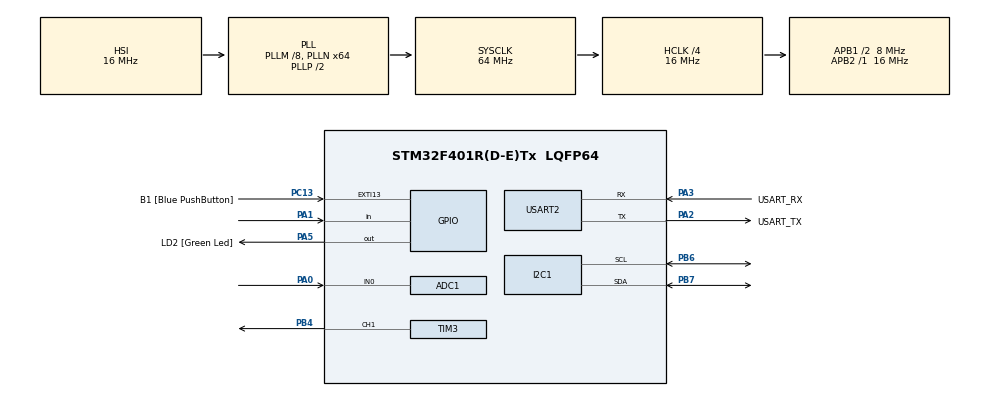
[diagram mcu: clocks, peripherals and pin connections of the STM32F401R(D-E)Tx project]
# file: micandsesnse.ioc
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ADC1.Channel-0\#ChannelRegularConversion=ADC_CHANNEL_0
ADC1.NbrOfConversionFlag=1
ADC1.Rank-0\#ChannelRegularConversion=1
ADC1.Resolution=ADC_RESOLUTION_10B
ADC1.SamplingTime-0\#ChannelRegularConversion=ADC_SAMPLETIME_3CYCLES
ADC1.master=1
I2C1.I2C_Mode=I2C_Fast
Mcu.Family=STM32F4
Mcu.Name=STM32F401R(D-E)Tx
Mcu.Package=LQFP64
NVIC.ADC_IRQn=true\:0\:0\:false\:false\:true\:true\:true\:true
NVIC.PriorityGroup=NVIC_PRIORITYGROUP_0
NVIC.TIM2_IRQn=true\:0\:0\:false\:false\:true\:true\:true\:true
NVIC.TIM4_IRQn=true\:0\:0\:false\:false\:true\:true\:true\:true
PA0-WKUP.Signal=ADCx_IN0
PA1.Signal=GPIO_Input
PA13.GPIO_Label=TMS
PA13.Mode=Serial_Wire
PA13.Signal=SYS_JTMS-SWDIO
PA14.GPIO_Label=TCK
PA14.Mode=Serial_Wire
PA14.Signal=SYS_JTCK-SWCLK
PA2.GPIO_Label=USART_TX
PA2.GPIO_Mode=GPIO_MODE_AF_PP
PA2.GPIO_PuPd=GPIO_NOPULL
PA2.GPIO_Speed=GPIO_SPEED_FREQ_LOW
PA2.Mode=Asynchronous
PA2.Signal=USART2_TX
PA3.GPIO_Label=USART_RX
PA3.GPIO_Mode=GPIO_MODE_AF_PP
PA3.GPIO_PuPd=GPIO_NOPULL
PA3.GPIO_Speed=GPIO_SPEED_FREQ_LOW
PA3.Mode=Asynchronous
PA3.Signal=USART2_RX
PA5.GPIO_Label=LD2 [Green Led]
PA5.GPIO_Mode=GPIO_MODE_OUTPUT_PP
PA5.GPIO_PuPd=GPIO_NOPULL
PA5.GPIO_Speed=GPIO_SPEED_FREQ_LOW
PA5.Signal=GPIO_Output
PB3.GPIO_Label=SWO
PB3.Signal=SYS_JTDO-SWO
PB4.Signal=S_TIM3_CH1
PB6.GPIO_Pu=GPIO_NOPULL
PB6.Mode=I2C
PB6.Signal=I2C1_SCL
PB7.GPIO_Pu=GPIO_NOPULL
PB7.Mode=I2C
PB7.Signal=I2C1_SDA
PC13-ANTI_TAMP.GPIO_Label=B1 [Blue PushButton]
PC13-ANTI_TAMP.GPIO_ModeDefaultEXTI=GPIO_MODE_IT_FALLING
PC13-ANTI_TAMP.GPIO_PuPd=GPIO_NOPULL
PC13-ANTI_TAMP.Signal=GPXTI13
PC14-OSC32_IN.Mode=LSE-External-Oscillator
PC14-OSC32_IN.Signal=RCC_OSC32_IN
PC15-OSC32_OUT.Mode=LSE-External-Oscillator
PC15-OSC32_OUT.Signal=RCC_OSC32_OUT
PH0\ -\ OSC_IN.Mode=HSE-External-Clock-Source
PH0\ -\ OSC_IN.Signal=RCC_OSC_IN
PH1\ -\ OSC_OUT.Mode=HSE-External-Clock-Source
PH1\ -\ OSC_OUT.Signal=RCC_OSC_OUT
ProjectManager.HeapSize=0x200
ProjectManager.StackSize=0x400
ProjectManager.TargetToolchain=STM32CubeIDE
RCC.48MHZClocksFreq_Value=18285714.285714287
RCC.AHBCLKDivider=RCC_SYSCLK_DIV4
RCC.AHBFreq_Value=16000000
RCC.APB1CLKDivider=RCC_HCLK_DIV2
RCC.APB1Freq_Value=8000000
RCC.APB1TimFreq_Value=16000000
RCC.APB2Freq_Value=16000000
RCC.APB2TimFreq_Value=16000000
RCC.CortexFreq_Value=16000000
RCC.HCLKFreq_Value=16000000
RCC.HSE_VALUE=8000000
RCC.HSI_VALUE=16000000
RCC.PLLM=8
RCC.PLLN=64
RCC.PLLQ=7
RCC.SYSCLKFreq_VALUE=64000000
RCC.SYSCLKSource=RCC_SYSCLKSOURCE_PLLCLK
RCC.VCOOutputFreq_Value=128000000
SH.ADCx_IN0.0=ADC1_IN0,IN0
SH.S_TIM3_CH1.0=TIM3_CH1,PWM Generation1 CH1
TIM2.Period=999
TIM2.TIM_MasterOutputTrigger=TIM_TRGO_UPDATE
TIM3.Channel-PWM\ Generation1\ CH1=TIM_CHANNEL_1
TIM3.Period=999
TIM3.Prescaler=318
TIM4.Period=999
TIM4.TIM_MasterOutputTrigger=TIM_TRGO_UPDATE
USART2.VirtualMode=VM_ASYNC
VP_TIM2_VS_ClockSourceINT.Mode=Internal
VP_TIM3_VS_ClockSourceINT.Mode=Internal
VP_TIM4_VS_ClockSourceINT.Mode=Internal
board=NUCLEO-F401RE

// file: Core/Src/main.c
/* USER CODE BEGIN Header */
/**
  ******************************************************************************
  * @file           : main.c
  * @brief          : Main program body
  ******************************************************************************
  * @attention
  *
  * Copyright (c) 2024 STMicroelectronics.
  * All rights reserved.
  *
  * This software is licensed under terms that can be found in the LICENSE file
  * in the root directory of this software component.
  * If no LICENSE file comes with this software, it is provided AS-IS.
  *
  ******************************************************************************
  */
/* USER CODE END Header */
#include "main.h"

/* USER CODE BEGIN Includes */
#include <stdio.h>
#include "string.h"
#include "NanoEdgeAI.h"
#include "knowledge.h"
#include "ssd1306.h"
#include "ssd1306_tests.h"
#include "ssd1306_fonts.h"
/* USER CODE END Includes */

/* USER CODE BEGIN PD */
#define INT_BUF_SIZE 100
#define AXIS_NUMBER 1
#define DATA_INPUT_USER 256
#define CONFIRMATIONS_NB (uint32_t)(7)
/* USER CODE END PD */

ADC_HandleTypeDef hadc1;

I2C_HandleTypeDef hi2c1;

TIM_HandleTypeDef htim2;
TIM_HandleTypeDef htim3;
TIM_HandleTypeDef htim4;

UART_HandleTypeDef huart2;

/* USER CODE BEGIN PV */
uint8_t sound_buffer[INT_BUF_SIZE];  // Buffer to hold the sound sensor states
volatile uint32_t buffer_index = 0;
float mic = 0.0;
float mic_buffer[AXIS_NUMBER * DATA_INPUT_USER] = {0};
float output_class_buffer[CLASS_NUMBER]; // Buffer of class probabilities
const char *id2class[CLASS_NUMBER + 1] = { // Buffer for mapping class id to class name
	"unknown",
	"N1",
	"N2",
	"Crying",
	"Siren",
};
/* USER CODE END PV */

void SystemClock_Config(void);
static void MX_GPIO_Init(void);
static void MX_USART2_UART_Init(void);
static void MX_TIM4_Init(void);
static void MX_TIM3_Init(void);
static void MX_ADC1_Init(void);
static void MX_TIM2_Init(void);
static void MX_I2C1_Init(void);
/* USER CODE BEGIN PFP */
void fill_sound_buffer(void);
void servoIntensity(void);
void fill_mic_buffer(void);
void Log(void);
void Inference(void);
/* USER CODE END PFP */

/* USER CODE BEGIN 0 */

void HAL_TIM_PeriodElapsedCallback(TIM_HandleTypeDef *htim) {
    if (htim->Instance == TIM4) {
        fill_sound_buffer(); // Call to fill buffer on timer interrupt
    }
    else if(htim->Instance == TIM2){
    	HAL_ADC_Start_IT(&hadc1);
		HAL_TIM_Base_Start_IT(&htim2);
    }
}

void fill_sound_buffer() {
	 if (buffer_index < INT_BUF_SIZE) {
	        sound_buffer[buffer_index++] = (HAL_GPIO_ReadPin(GPIOA, GPIO_PIN_1) == GPIO_PIN_SET) ? 1 : 0; // Assign 1 for high and 0 for low
	    } else {
	        buffer_index = 0; // Reset index if buffer is full (optional: handle full buffer case)
	    }
}

void servoIntensity(){
	int high_count = 0; // Count of high values (1s) in the buffer

	// Count the number of high values (1s) in the sound buffer
	for (int i = 0; i < INT_BUF_SIZE; i++) {
		if (sound_buffer[i] == 1) {
			high_count++;
		}
	}

	// Calculate the percentage of high values
	float high_percentage = (float)high_count / INT_BUF_SIZE * 100;

	// Ensure that high_percentage is within the valid range (0 to 100)
	if (high_percentage < 0) {
		high_percentage = 0;
	} else if (high_percentage > 100) {
		high_percentage = 100;
	}

//	if (high_percentage < 20) {
//		printf("Sound Level= LOW\r\n");
//	} else if (high_percentage >= 20 && high_percentage < 65) {
//		printf("Sound Level = MEDIUM\r\n");
//	} else if (high_percentage >= 65){
//		printf("Sound Level = HIGH\r\n");
//	}

	// Normalize to a duty cycle value for servo control
	int dutyCycle = 125 - (int)((high_percentage * (125 - 25)) / 100); // Map percentage to duty cycle range
	htim3.Instance->CCR1 = dutyCycle; // Set the compare register to the duty cycle
	HAL_Delay(1000);
}

void HAL_ADC_ConvCpltCallback(ADC_HandleTypeDef* hadc){
	mic = HAL_ADC_GetValue(&hadc1);
}

/* USER CODE END 0 */

int main(void)
{

  /* MCU Configuration--------------------------------------------------------*/

  /* Reset of all peripherals, Initializes the Flash interface and the Systick. */
  HAL_Init();

  /* USER CODE BEGIN Init */
  enum neai_state error_code = neai_classification_init(knowledge);
  	if (error_code != NEAI_OK) {
  		/* This happens if the knowledge does not correspond to the library or if the library works into a not supported board. */
  		printf("Knowledge Initialization ERROR!");
	}
  	else{
  		printf("Knowledge Initialization DONE!");
	}
  /* USER CODE END Init */

  /* Configure the system clock */
  SystemClock_Config();

  /* Initialize all configured peripherals */
  MX_GPIO_Init();
  MX_USART2_UART_Init();
  MX_TIM4_Init();
  MX_TIM3_Init();
  MX_ADC1_Init();
  MX_TIM2_Init();
  MX_I2C1_Init();
  /* USER CODE BEGIN 2 */
  HAL_ADC_Start_IT(&hadc1);
  HAL_TIM_Base_Start_IT(&htim2);
  HAL_TIM_Base_Start_IT(&htim4);
  HAL_TIM_PWM_Start(&htim3, TIM_CHANNEL_1);

  ssd1306_Init();
  /* USER CODE END 2 */

  /* Infinite loop */
  /* USER CODE BEGIN WHILE */
  while (1)
  {
//	  Log();
	  Inference();
	  servoIntensity();
    /* USER CODE END WHILE */

  }
}

void SystemClock_Config(void)
{
  RCC_OscInitTypeDef RCC_OscInitStruct = {0};
  RCC_ClkInitTypeDef RCC_ClkInitStruct = {0};

  /** Configure the main internal regulator output voltage
  */
  __HAL_RCC_PWR_CLK_ENABLE();
  __HAL_PWR_VOLTAGESCALING_CONFIG(PWR_REGULATOR_VOLTAGE_SCALE2);

  /** Initializes the RCC Oscillators according to the specified parameters
  * in the RCC_OscInitTypeDef structure.
  */
  RCC_OscInitStruct.OscillatorType = RCC_OSCILLATORTYPE_HSI;
  RCC_OscInitStruct.HSIState = RCC_HSI_ON;
  RCC_OscInitStruct.HSICalibrationValue = RCC_HSICALIBRATION_DEFAULT;
  RCC_OscInitStruct.PLL.PLLState = RCC_PLL_ON;
  RCC_OscInitStruct.PLL.PLLSource = RCC_PLLSOURCE_HSI;
  RCC_OscInitStruct.PLL.PLLM = 8;
  RCC_OscInitStruct.PLL.PLLN = 64;
  RCC_OscInitStruct.PLL.PLLP = RCC_PLLP_DIV2;
  RCC_OscInitStruct.PLL.PLLQ = 7;
  if (HAL_RCC_OscConfig(&RCC_OscInitStruct) != HAL_OK)
  {
    Error_Handler();
  }

  /** Initializes the CPU, AHB and APB buses clocks
  */
  RCC_ClkInitStruct.ClockType = RCC_CLOCKTYPE_HCLK|RCC_CLOCKTYPE_SYSCLK
                              |RCC_CLOCKTYPE_PCLK1|RCC_CLOCKTYPE_PCLK2;
  RCC_ClkInitStruct.SYSCLKSource = RCC_SYSCLKSOURCE_PLLCLK;
  RCC_ClkInitStruct.AHBCLKDivider = RCC_SYSCLK_DIV4;
  RCC_ClkInitStruct.APB1CLKDivider = RCC_HCLK_DIV2;
  RCC_ClkInitStruct.APB2CLKDivider = RCC_HCLK_DIV1;

  if (HAL_RCC_ClockConfig(&RCC_ClkInitStruct, FLASH_LATENCY_0) != HAL_OK)
  {
    Error_Handler();
  }
}

static void MX_ADC1_Init(void)
{

  ADC_ChannelConfTypeDef sConfig = {0};

  /** Configure the global features of the ADC (Clock, Resolution, Data Alignment and number of conversion)
  */
  hadc1.Instance = ADC1;
  hadc1.Init.ClockPrescaler = ADC_CLOCK_SYNC_PCLK_DIV2;
  hadc1.Init.Resolution = ADC_RESOLUTION_10B;
  hadc1.Init.ScanConvMode = DISABLE;
  hadc1.Init.ContinuousConvMode = DISABLE;
  hadc1.Init.DiscontinuousConvMode = DISABLE;
  hadc1.Init.ExternalTrigConvEdge = ADC_EXTERNALTRIGCONVEDGE_NONE;
  hadc1.Init.ExternalTrigConv = ADC_SOFTWARE_START;
  hadc1.Init.DataAlign = ADC_DATAALIGN_RIGHT;
  hadc1.Init.NbrOfConversion = 1;
  hadc1.Init.DMAContinuousRequests = DISABLE;
  hadc1.Init.EOCSelection = ADC_EOC_SINGLE_CONV;
  if (HAL_ADC_Init(&hadc1) != HAL_OK)
  {
    Error_Handler();
  }

  /** Configure for the selected ADC regular channel its corresponding rank in the sequencer and its sample time.
  */
  sConfig.Channel = ADC_CHANNEL_0;
  sConfig.Rank = 1;
  sConfig.SamplingTime = ADC_SAMPLETIME_3CYCLES;
  if (HAL_ADC_ConfigChannel(&hadc1, &sConfig) != HAL_OK)
  {
    Error_Handler();
  }

}

static void MX_I2C1_Init(void)
{

  hi2c1.Instance = I2C1;
  hi2c1.Init.ClockSpeed = 400000;
  hi2c1.Init.DutyCycle = I2C_DUTYCYCLE_2;
  hi2c1.Init.OwnAddress1 = 0;
  hi2c1.Init.AddressingMode = I2C_ADDRESSINGMODE_7BIT;
  hi2c1.Init.DualAddressMode = I2C_DUALADDRESS_DISABLE;
  hi2c1.Init.OwnAddress2 = 0;
  hi2c1.Init.GeneralCallMode = I2C_GENERALCALL_DISABLE;
  hi2c1.Init.NoStretchMode = I2C_NOSTRETCH_DISABLE;
  if (HAL_I2C_Init(&hi2c1) != HAL_OK)
  {
    Error_Handler();
  }

}

static void MX_TIM2_Init(void)
{

  TIM_ClockConfigTypeDef sClockSourceConfig = {0};
  TIM_MasterConfigTypeDef sMasterConfig = {0};

  htim2.Instance = TIM2;
  htim2.Init.Prescaler = 0;
  htim2.Init.CounterMode = TIM_COUNTERMODE_UP;
  htim2.Init.Period = 999;
  htim2.Init.ClockDivision = TIM_CLOCKDIVISION_DIV1;
  htim2.Init.AutoReloadPreload = TIM_AUTORELOAD_PRELOAD_DISABLE;
  if (HAL_TIM_Base_Init(&htim2) != HAL_OK)
  {
    Error_Handler();
  }
  sClockSourceConfig.ClockSource = TIM_CLOCKSOURCE_INTERNAL;
  if (HAL_TIM_ConfigClockSource(&htim2, &sClockSourceConfig) != HAL_OK)
  {
    Error_Handler();
  }
  sMasterConfig.MasterOutputTrigger = TIM_TRGO_UPDATE;
  sMasterConfig.MasterSlaveMode = TIM_MASTERSLAVEMODE_DISABLE;
  if (HAL_TIMEx_MasterConfigSynchronization(&htim2, &sMasterConfig) != HAL_OK)
  {
    Error_Handler();
  }

}

static void MX_TIM3_Init(void)
{

  TIM_ClockConfigTypeDef sClockSourceConfig = {0};
  TIM_MasterConfigTypeDef sMasterConfig = {0};
  TIM_OC_InitTypeDef sConfigOC = {0};

  htim3.Instance = TIM3;
  htim3.Init.Prescaler = 318;
  htim3.Init.CounterMode = TIM_COUNTERMODE_UP;
  htim3.Init.Period = 999;
  htim3.Init.ClockDivision = TIM_CLOCKDIVISION_DIV1;
  htim3.Init.AutoReloadPreload = TIM_AUTORELOAD_PRELOAD_DISABLE;
  if (HAL_TIM_Base_Init(&htim3) != HAL_OK)
  {
    Error_Handler();
  }
  sClockSourceConfig.ClockSource = TIM_CLOCKSOURCE_INTERNAL;
  if (HAL_TIM_ConfigClockSource(&htim3, &sClockSourceConfig) != HAL_OK)
  {
    Error_Handler();
  }
  if (HAL_TIM_PWM_Init(&htim3) != HAL_OK)
  {
    Error_Handler();
  }
  sMasterConfig.MasterOutputTrigger = TIM_TRGO_RESET;
  sMasterConfig.MasterSlaveMode = TIM_MASTERSLAVEMODE_DISABLE;
  if (HAL_TIMEx_MasterConfigSynchronization(&htim3, &sMasterConfig) != HAL_OK)
  {
    Error_Handler();
  }
  sConfigOC.OCMode = TIM_OCMODE_PWM1;
  sConfigOC.Pulse = 0;
  sConfigOC.OCPolarity = TIM_OCPOLARITY_HIGH;
  sConfigOC.OCFastMode = TIM_OCFAST_DISABLE;
  if (HAL_TIM_PWM_ConfigChannel(&htim3, &sConfigOC, TIM_CHANNEL_1) != HAL_OK)
  {
    Error_Handler();
  }
  HAL_TIM_MspPostInit(&htim3);

}

static void MX_TIM4_Init(void)
{

  TIM_ClockConfigTypeDef sClockSourceConfig = {0};
  TIM_MasterConfigTypeDef sMasterConfig = {0};

  htim4.Instance = TIM4;
  htim4.Init.Prescaler = 0;
  htim4.Init.CounterMode = TIM_COUNTERMODE_UP;
  htim4.Init.Period = 999;
  htim4.Init.ClockDivision = TIM_CLOCKDIVISION_DIV1;
  htim4.Init.AutoReloadPreload = TIM_AUTORELOAD_PRELOAD_DISABLE;
  if (HAL_TIM_Base_Init(&htim4) != HAL_OK)
  {
    Error_Handler();
  }
  sClockSourceConfig.ClockSource = TIM_CLOCKSOURCE_INTERNAL;
  if (HAL_TIM_ConfigClockSource(&htim4, &sClockSourceConfig) != HAL_OK)
  {
    Error_Handler();
  }
  sMasterConfig.MasterOutputTrigger = TIM_TRGO_UPDATE;
  sMasterConfig.MasterSlaveMode = TIM_MASTERSLAVEMODE_DISABLE;
  if (HAL_TIMEx_MasterConfigSynchronization(&htim4, &sMasterConfig) != HAL_OK)
  {
    Error_Handler();
  }

}

static void MX_USART2_UART_Init(void)
{

  huart2.Instance = USART2;
  huart2.Init.BaudRate = 115200;
  huart2.Init.WordLength = UART_WORDLENGTH_8B;
  huart2.Init.StopBits = UART_STOPBITS_1;
  huart2.Init.Parity = UART_PARITY_NONE;
  huart2.Init.Mode = UART_MODE_TX_RX;
  huart2.Init.HwFlowCtl = UART_HWCONTROL_NONE;
  huart2.Init.OverSampling = UART_OVERSAMPLING_16;
  if (HAL_UART_Init(&huart2) != HAL_OK)
  {
    Error_Handler();
  }

}

static void MX_GPIO_Init(void)
{
  GPIO_InitTypeDef GPIO_InitStruct = {0};

  /* GPIO Ports Clock Enable */
  __HAL_RCC_GPIOC_CLK_ENABLE();
  __HAL_RCC_GPIOH_CLK_ENABLE();
  __HAL_RCC_GPIOA_CLK_ENABLE();
  __HAL_RCC_GPIOB_CLK_ENABLE();

  /*Configure GPIO pin Output Level */
  HAL_GPIO_WritePin(LD2_GPIO_Port, LD2_Pin, GPIO_PIN_RESET);

  /*Configure GPIO pin : B1_Pin */
  GPIO_InitStruct.Pin = B1_Pin;
  GPIO_InitStruct.Mode = GPIO_MODE_IT_FALLING;
  GPIO_InitStruct.Pull = GPIO_NOPULL;
  HAL_GPIO_Init(B1_GPIO_Port, &GPIO_InitStruct);

  /*Configure GPIO pin : PA1 */
  GPIO_InitStruct.Pin = GPIO_PIN_1;
  GPIO_InitStruct.Mode = GPIO_MODE_INPUT;
  GPIO_InitStruct.Pull = GPIO_NOPULL;
  HAL_GPIO_Init(GPIOA, &GPIO_InitStruct);

  /*Configure GPIO pin : LD2_Pin */
  GPIO_InitStruct.Pin = LD2_Pin;
  GPIO_InitStruct.Mode = GPIO_MODE_OUTPUT_PP;
  GPIO_InitStruct.Pull = GPIO_NOPULL;
  GPIO_InitStruct.Speed = GPIO_SPEED_FREQ_LOW;
  HAL_GPIO_Init(LD2_GPIO_Port, &GPIO_InitStruct);

}

/* USER CODE BEGIN 4 */
int __io_putchar(int ch){
HAL_UART_Transmit(&huart2, (uint8_t *)&ch, 1, HAL_MAX_DELAY);
return ch;
}

void fill_mic_buffer(){
	for(int i=0; i<DATA_INPUT_USER; i++){
	mic_buffer[AXIS_NUMBER * i] = mic;
	HAL_Delay(3);
	}
}

void Log(){
	fill_mic_buffer();
	for(int i=0; i<DATA_INPUT_USER; i++){
		printf("%.2f", mic_buffer[AXIS_NUMBER * i]);
		printf("\t");
	}
	printf("\r\n");
}

void Inference(){
	uint16_t i, id_class_t0, id_class_tn;
	fill_mic_buffer();
	neai_classification(mic_buffer, output_class_buffer, &id_class_t0);
	for(i=0; i<CONFIRMATIONS_NB-1; i++){
		fill_mic_buffer();
		neai_classification(mic_buffer, output_class_buffer, &id_class_tn);
		if(id_class_t0 != id_class_tn){
			printf("Detected Class:Noise");
			printf("\r\n");
			ssd1306_UpdateScreen();
			ssd1306_SetCursor(2, 0);
			ssd1306_WriteString("Detected Sound:", Font_7x10, White);
			ssd1306_SetCursor(2, 18);
			ssd1306_WriteString("             ", Font_11x18, White);
			ssd1306_SetCursor(2, 18);
			ssd1306_WriteString("Noise", Font_11x18, White);
			ssd1306_UpdateScreen();
			break;
		}
		else if(id_class_t0 == id_class_tn){
					printf("Detected Class:");
					printf(id2class[id_class_t0]);
					printf("\r\n");
					ssd1306_UpdateScreen();
					ssd1306_SetCursor(2, 0);
					ssd1306_WriteString("Detected Sound:", Font_7x10, White);
					ssd1306_SetCursor(2, 18);
					ssd1306_WriteString("             ", Font_11x18, White);
					ssd1306_SetCursor(2, 18);
					ssd1306_WriteString(id2class[id_class_t0], Font_11x18, White);
					ssd1306_UpdateScreen();
		}
		else{
			printf("?");
			printf("\r\n");
			ssd1306_UpdateScreen();
			ssd1306_SetCursor(2, 0);
			ssd1306_WriteString("Detected Sound:", Font_7x10, White);
			ssd1306_SetCursor(2, 18);
			ssd1306_WriteString("             ", Font_11x18, White);
			ssd1306_SetCursor(2, 18);
			ssd1306_WriteString("Noise", Font_11x18, White);
			ssd1306_UpdateScreen();
		}
	}
}

/* USER CODE END 4 */

void Error_Handler(void)
{
  __disable_irq();
  while (1)
  {
  }
}
